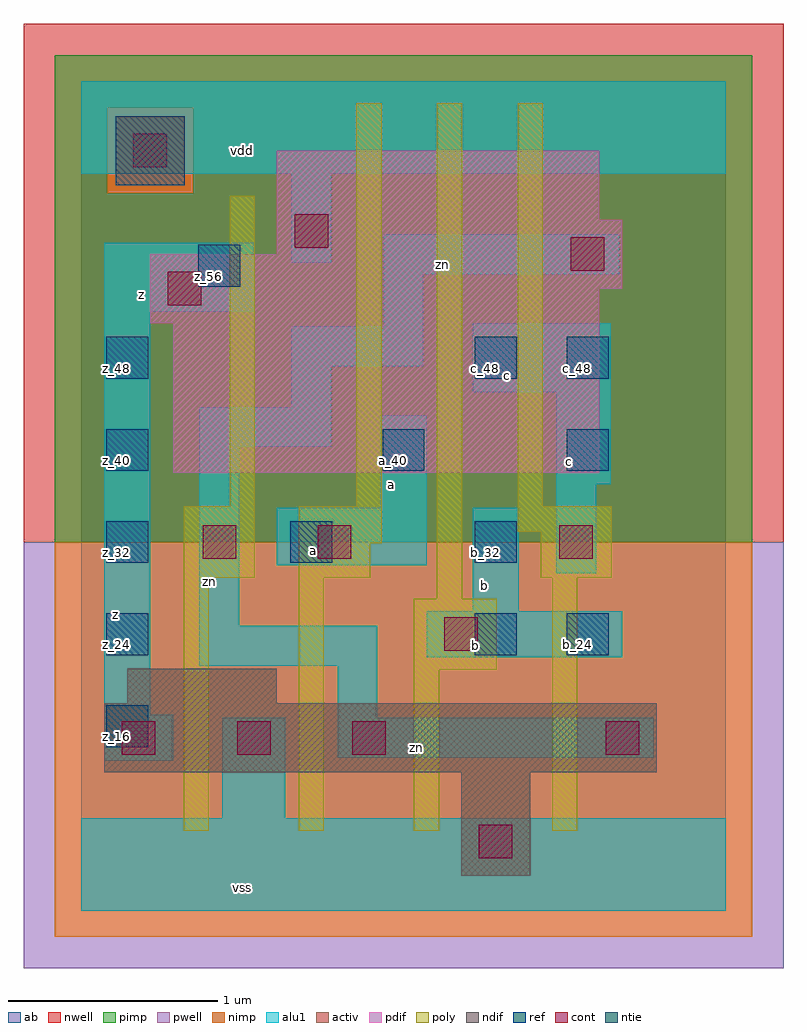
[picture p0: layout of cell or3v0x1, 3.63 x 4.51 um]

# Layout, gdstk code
import gdstk
lib = gdstk.Library(unit=1e-6, precision=2.5e-09)
def R(c, l, rs):  # rectangles x0, y0, x1, y1
    for r in rs: c.add(gdstk.rectangle(r[:2], r[2:], *l))
def A(c, l, x, y, w, h, nx, ny, dx, dy):  # array of equal rectangles
    R(c, l, [(x+i*dx, y+j*dy, x+i*dx+w, y+j*dy+h) for i in range(nx) for j in range(ny)])
ndif = (3, 0)
pdif = (4, 0)
ntie = (5, 0)
ref = (24, 0)
cont = (25, 0)
pwell = (41, 0)
nwell = (42, 0)
activ = (43, 0)
pimp = (44, 0)
nimp = (45, 0)
poly = (46, 0)
alu1 = (49, 0)
ab = (63, 0)

or3v0x1 = lib.new_cell('or3v0x1')
R(or3v0x1, ndif, [(1.815,0.165,2.145,0.66), (0.11,0.66,2.75,0.99), (0.22,0.99,0.935,1.155)])
R(or3v0x1, pdif, [(0.44,2.09,2.475,2.805), (0.33,2.805,2.475,2.97), (0.33,2.97,2.585,3.135), (0.935,3.135,2.585,3.3), (0.935,3.3,2.475,3.63)])
R(or3v0x1, ntie, [(0.165,3.465,0.495,3.795)])
A(or3v0x1, ref, 0.12, 1.66, 0.2, 0.2, 3, 1, 0.88, 0)
R(or3v0x1, ref, [(0.12,0.78,0.32,0.98), (0.12,1.22,0.32,1.42), (1.88,1.22,2.08,1.42), (2.32,1.22,2.52,1.42), (0.12,2.1,0.32,2.3), (1.44,2.1,1.64,2.3), (2.32,2.1,2.52,2.3), (0.12,2.54,0.32,2.74), (1.88,2.54,2.08,2.74), (2.32,2.54,2.52,2.74), (0.56,2.98,0.76,3.18)])
A(or3v0x1, cont, 0.195, 0.745, 0.16, 0.16, 3, 1, 0.55, 0)
R(or3v0x1, cont, [(1.9,0.25,2.06,0.41), (2.505,0.745,2.665,0.905), (1.735,1.24,1.895,1.4), (0.58,1.68,0.74,1.84), (1.13,1.68,1.29,1.84), (2.285,1.68,2.445,1.84), (0.415,2.89,0.575,3.05), (2.34,3.055,2.5,3.215), (1.02,3.165,1.18,3.325), (0.25,3.55,0.41,3.71)])
R(or3v0x1, pwell, [(-0.275,-0.275,3.355,1.76)])
R(or3v0x1, nwell, [(-0.275,1.76,3.355,4.235)])
R(or3v0x1, activ, [(1.815,0.165,2.145,0.66), (0.11,0.66,2.75,0.99), (0.22,0.99,0.935,1.155), (0.44,2.09,2.475,2.805), (0.33,2.805,2.475,2.97), (0.33,2.97,2.585,3.135), (0.935,3.135,2.585,3.3), (0.935,3.3,2.475,3.63), (0.165,3.465,0.495,3.795)])
R(or3v0x1, pimp, [(-0.125,1.76,3.205,3.425), (-0.125,3.425,0.125,3.835), (0.535,3.425,3.205,3.835), (-0.125,3.835,3.205,4.085)])
R(or3v0x1, nimp, [(-0.125,-0.125,3.205,1.76), (0.125,3.425,0.535,3.835)])
R(or3v0x1, poly, [(0.49,0.38,0.61,1.59), (1.04,0.38,1.16,1.59), (1.59,0.38,1.71,1.15), (2.25,0.38,2.37,1.59), (1.59,1.15,1.985,1.49), (1.7,1.49,1.82,3.855), (0.49,1.59,0.83,1.93), (1.04,1.59,1.38,1.755), (2.195,1.59,2.535,1.81), (1.04,1.755,1.435,1.93), (2.085,1.81,2.535,1.93), (0.71,1.93,0.83,3.415), (1.315,1.93,1.435,3.855), (2.085,1.93,2.205,3.855)])
R(or3v0x1, alu1, [(0,0,3.08,0.44), (0.675,0.44,0.975,0.92), (0.11,0.715,0.44,0.935), (1.225,0.73,2.735,0.92), (1.225,0.92,1.415,1.17), (0.11,0.935,0.33,2.86), (0.565,1.17,1.415,1.36), (1.65,1.21,2.585,1.43), (0.565,1.36,0.755,2.215), (1.87,1.43,2.09,1.925), (2.27,1.61,2.46,2.035), (0.935,1.65,1.65,1.925), (1.43,1.925,1.65,2.365), (2.27,2.035,2.53,2.475), (0.565,2.215,1.195,2.405), (1.005,2.405,1.195,2.6), (1.87,2.475,2.53,2.805), (1.005,2.6,1.635,2.79), (1.445,2.79,1.635,3.04), (0.11,2.86,0.825,3.19), (1.445,3.04,2.57,3.23), (1.005,3.095,1.195,3.52), (0,3.52,3.08,3.96)])
R(or3v0x1, ab, [(0,0,3.08,3.96)])
or3v0x1.add(gdstk.Label('vss', (0.77,0.11), layer=49, texttype=0))
or3v0x1.add(gdstk.Label('zn', (1.6025,0.7775), layer=49, texttype=0))
or3v0x1.add(gdstk.Label('b', (1.8825,1.265), layer=49, texttype=0))
or3v0x1.add(gdstk.Label('b', (1.925,1.5525), layer=49, texttype=0))
or3v0x1.add(gdstk.Label('a', (1.1125,1.7175), layer=49, texttype=0))
or3v0x1.add(gdstk.Label('c', (2.335,2.145), layer=49, texttype=0))
or3v0x1.add(gdstk.Label('a', (1.485,2.035), layer=49, texttype=0))
or3v0x1.add(gdstk.Label('zn', (0.6125,1.5725), layer=49, texttype=0))
or3v0x1.add(gdstk.Label('c', (2.035,2.5575), layer=49, texttype=0))
or3v0x1.add(gdstk.Label('z', (0.165,1.415), layer=49, texttype=0))
or3v0x1.add(gdstk.Label('zn', (1.725,3.0875), layer=49, texttype=0))
or3v0x1.add(gdstk.Label('z', (0.2875,2.9425), layer=49, texttype=0))
or3v0x1.add(gdstk.Label('vdd', (0.77,3.63), layer=49, texttype=0))
or3v0x1.add(gdstk.Label('z_56', (0.61,3.03), layer=24, texttype=0))
or3v0x1.add(gdstk.Label('a_32', (1.05,1.71), layer=24, texttype=0))
or3v0x1.add(gdstk.Label('a_40', (1.49,2.15), layer=24, texttype=0))
or3v0x1.add(gdstk.Label('b_24', (1.93,1.27), layer=24, texttype=0))
or3v0x1.add(gdstk.Label('b_32', (1.93,1.71), layer=24, texttype=0))
or3v0x1.add(gdstk.Label('c_48', (1.93,2.59), layer=24, texttype=0))
or3v0x1.add(gdstk.Label('z_16', (0.17,0.83), layer=24, texttype=0))
or3v0x1.add(gdstk.Label('z_24', (0.17,1.27), layer=24, texttype=0))
or3v0x1.add(gdstk.Label('z_32', (0.17,1.71), layer=24, texttype=0))
or3v0x1.add(gdstk.Label('z_40', (0.17,2.15), layer=24, texttype=0))
or3v0x1.add(gdstk.Label('z_48', (0.17,2.59), layer=24, texttype=0))
or3v0x1.add(gdstk.Label('b_24', (2.37,1.27), layer=24, texttype=0))
or3v0x1.add(gdstk.Label('c_40', (2.37,2.15), layer=24, texttype=0))
or3v0x1.add(gdstk.Label('c_48', (2.37,2.59), layer=24, texttype=0))

lib.write_gds('or3v0x1.gds')
